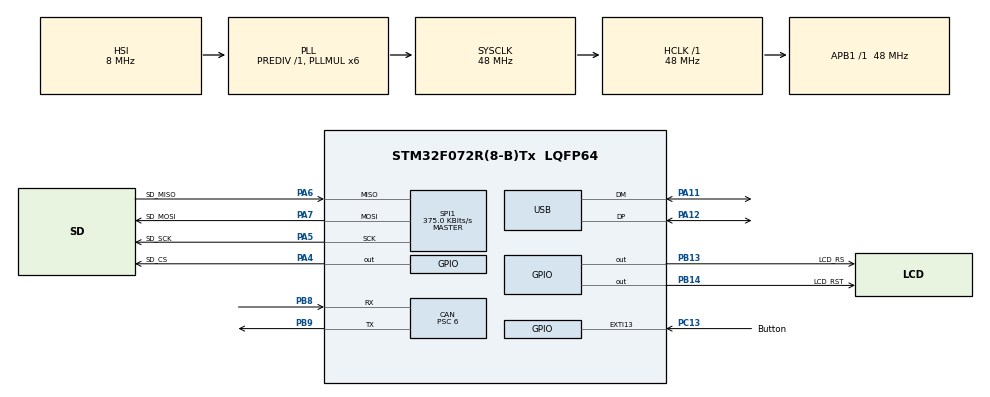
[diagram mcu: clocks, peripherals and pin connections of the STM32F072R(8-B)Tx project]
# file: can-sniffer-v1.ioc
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CAN.BS1=CAN_BS1_12TQ
CAN.BS2=CAN_BS2_3TQ
CAN.CalculateBaudRate=500000
CAN.CalculateTimeBit=2000
CAN.CalculateTimeQuantum=125.0
CAN.Mode=CAN_MODE_LOOPBACK
CAN.Prescaler=6
Mcu.Family=STM32F0
Mcu.Name=STM32F072R(8-B)Tx
Mcu.Package=LQFP64
NVIC.CEC_CAN_IRQn=true\:0\:0\:false\:false\:true\:true\:true\:true
NVIC.EXTI4_15_IRQn=true\:0\:0\:false\:false\:true\:true\:true\:true
NVIC.FLASH_IRQn=true\:0\:0\:false\:false\:true\:true\:true\:true
PA11.Mode=Device
PA11.Signal=USB_DM
PA12.Mode=Device
PA12.Signal=USB_DP
PA13.Mode=Serial_Wire
PA13.Signal=SYS_SWDIO
PA14.Mode=Serial_Wire
PA14.Signal=SYS_SWCLK
PA4.GPIO_Label=SD_CS
PA4.Signal=GPIO_Output
PA5.GPIO_Label=SD_SCK
PA5.GPIO_Speed=GPIO_SPEED_FREQ_LOW
PA5.Mode=Full_Duplex_Master
PA5.Signal=SPI1_SCK
PA6.GPIO_Label=SD_MISO
PA6.Mode=Full_Duplex_Master
PA6.Signal=SPI1_MISO
PA7.GPIO_Label=SD_MOSI
PA7.Mode=Full_Duplex_Master
PA7.Signal=SPI1_MOSI
PB10.GPIO_Label=LCD_SCL
PB10.Signal=SPI2_SCK
PB12.GPIO_Label=LCD_CSB
PB12.Signal=SPI2_NSS
PB13.GPIO_Label=LCD_RS
PB13.Signal=GPIO_Output
PB14.GPIO_Label=LCD_RST
PB14.Signal=GPIO_Output
PB15.GPIO_Label=LCD_MOSI
PB15.Signal=SPI2_MOSI
PB8.GPIO_PuPd=GPIO_PULLUP
PB8.Mode=CAN_Activate
PB8.Signal=CAN_RX
PB9.Mode=CAN_Activate
PB9.Signal=CAN_TX
PC13.GPIO_Label=Button
PC13.GPIO_ModeDefaultEXTI=GPIO_MODE_IT_FALLING
PC13.Signal=GPXTI13
PF0-OSC_IN.Mode=HSE-External-Oscillator
PF0-OSC_IN.Signal=RCC_OSC_IN
PF1-OSC_OUT.Mode=HSE-External-Oscillator
PF1-OSC_OUT.Signal=RCC_OSC_OUT
ProjectManager.HeapSize=0x200
ProjectManager.StackSize=0x400
ProjectManager.TargetToolchain=STM32CubeIDE
RCC.AHBFreq_Value=48000000
RCC.APB1Freq_Value=48000000
RCC.APB1TimFreq_Value=48000000
RCC.HCLKFreq_Value=48000000
RCC.PLLMUL=RCC_PLL_MUL6
RCC.SYSCLKFreq_VALUE=48000000
RCC.SYSCLKSource=RCC_SYSCLKSOURCE_PLLCLK
SPI1.BaudRatePrescaler=SPI_BAUDRATEPRESCALER_128
SPI1.CalculateBaudRate=375.0 KBits/s
SPI1.DataSize=SPI_DATASIZE_8BIT
SPI1.Direction=SPI_DIRECTION_2LINES
SPI1.Mode=SPI_MODE_MASTER
SPI1.VirtualType=VM_MASTER
VP_FATFS_VS_Generic.Mode=User_defined
board=custom

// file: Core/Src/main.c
/* USER CODE BEGIN Header */
/**
  ******************************************************************************
  * @file           : main.c
  * @brief          : Main program body
  ******************************************************************************
  * @attention
  *
  * Copyright (c) 2025 STMicroelectronics.
  * All rights reserved.
  *
  * This software is licensed under terms that can be found in the LICENSE file
  * in the root directory of this software component.
  * If no LICENSE file comes with this software, it is provided AS-IS.
  *
  ******************************************************************************
  */
/* USER CODE END Header */
#include "main.h"
#include "fatfs.h"

CAN_HandleTypeDef hcan;

SPI_HandleTypeDef hspi1;

PCD_HandleTypeDef hpcd_USB_FS;

/* USER CODE BEGIN PV */
//uint16_t led_state = 0;
CAN_TxHeaderTypeDef   TxHeader; /* Header containing the information of the transmitted frame */
CAN_RxHeaderTypeDef   RxHeader; ; /* Header containing the information of the received frame */
uint8_t               TxData[8] = {0};  /* Buffer of the data to send */
uint8_t               RxData[8]; /* Buffer of the received data */
uint32_t              TxMailbox;  /* The number of the mail box that transmitted the Tx message */

/* USER CODE END PV */

void SystemClock_Config(void);
static void MX_GPIO_Init(void);
static void MX_USB_PCD_Init(void);
static void MX_CAN_Init(void);
static void MX_SPI1_Init(void);

int main(void)
{

  /* MCU Configuration--------------------------------------------------------*/

  /* Reset of all peripherals, Initializes the Flash interface and the Systick. */
  HAL_Init();

  /* Configure the system clock */
  SystemClock_Config();

  /* Initialize all configured peripherals */
  MX_GPIO_Init();
  MX_USB_PCD_Init();
  MX_CAN_Init();
  MX_SPI1_Init();
  MX_FATFS_Init();
  /* USER CODE BEGIN 2 */
  TxHeader.StdId = 0x123;
  TxHeader.RTR = CAN_RTR_DATA;
  TxHeader.IDE = CAN_ID_STD;
  TxHeader.DLC = 8;
  TxHeader.TransmitGlobalTime = DISABLE;
  for (int i=0; i<8; i++){
	  TxData[i] = 0;
  }
//  TxData[0] = 0;
//  TxData[7] = 0xFF;

  /* USER CODE END 2 */

  /* Infinite loop */
  /* USER CODE BEGIN WHILE */

  while (1)
  {
	  for(int i=0; i<8; i++){
	  	  TxData[i] = (TxData[i] + (1+i)) & 0xFF;				//wraps around when reached 255
	    }
//	  TxData[0] ++; 				//increment the first byte
//	  TxData[7] --;					//increment the last byte

	  //mandatory to look for a free Tx mailbox
	  while(HAL_CAN_GetTxMailboxesFreeLevel(&hcan) == 0);
	  if(HAL_CAN_AddTxMessage(&hcan, &TxHeader, TxData, &TxMailbox) != HAL_OK){
		  //transmission request error
		  Error_Handler();
	  }

    /* USER CODE END WHILE */

  }
}

void SystemClock_Config(void)
{
  RCC_OscInitTypeDef RCC_OscInitStruct = {0};
  RCC_ClkInitTypeDef RCC_ClkInitStruct = {0};
  RCC_PeriphCLKInitTypeDef PeriphClkInit = {0};

  /** Initializes the RCC Oscillators according to the specified parameters
  * in the RCC_OscInitTypeDef structure.
  */
  RCC_OscInitStruct.OscillatorType = RCC_OSCILLATORTYPE_HSI|RCC_OSCILLATORTYPE_HSI48;
  RCC_OscInitStruct.HSIState = RCC_HSI_ON;
  RCC_OscInitStruct.HSI48State = RCC_HSI48_ON;
  RCC_OscInitStruct.HSICalibrationValue = RCC_HSICALIBRATION_DEFAULT;
  RCC_OscInitStruct.PLL.PLLState = RCC_PLL_ON;
  RCC_OscInitStruct.PLL.PLLSource = RCC_PLLSOURCE_HSI;
  RCC_OscInitStruct.PLL.PLLMUL = RCC_PLL_MUL6;
  RCC_OscInitStruct.PLL.PREDIV = RCC_PREDIV_DIV1;
  if (HAL_RCC_OscConfig(&RCC_OscInitStruct) != HAL_OK)
  {
    Error_Handler();
  }

  /** Initializes the CPU, AHB and APB buses clocks
  */
  RCC_ClkInitStruct.ClockType = RCC_CLOCKTYPE_HCLK|RCC_CLOCKTYPE_SYSCLK
                              |RCC_CLOCKTYPE_PCLK1;
  RCC_ClkInitStruct.SYSCLKSource = RCC_SYSCLKSOURCE_PLLCLK;
  RCC_ClkInitStruct.AHBCLKDivider = RCC_SYSCLK_DIV1;
  RCC_ClkInitStruct.APB1CLKDivider = RCC_HCLK_DIV1;

  if (HAL_RCC_ClockConfig(&RCC_ClkInitStruct, FLASH_LATENCY_1) != HAL_OK)
  {
    Error_Handler();
  }
  PeriphClkInit.PeriphClockSelection = RCC_PERIPHCLK_USB;
  PeriphClkInit.UsbClockSelection = RCC_USBCLKSOURCE_HSI48;

  if (HAL_RCCEx_PeriphCLKConfig(&PeriphClkInit) != HAL_OK)
  {
    Error_Handler();
  }
}

static void MX_CAN_Init(void)
{

  /* USER CODE BEGIN CAN_Init 0 */
	CAN_FilterTypeDef sFilterConfig;
  /* USER CODE END CAN_Init 0 */

  hcan.Instance = CAN;
  hcan.Init.Prescaler = 6;
  hcan.Init.Mode = CAN_MODE_LOOPBACK;
  hcan.Init.SyncJumpWidth = CAN_SJW_1TQ;
  hcan.Init.TimeSeg1 = CAN_BS1_12TQ;
  hcan.Init.TimeSeg2 = CAN_BS2_3TQ;
  hcan.Init.TimeTriggeredMode = DISABLE;
  hcan.Init.AutoBusOff = DISABLE;
  hcan.Init.AutoWakeUp = DISABLE;
  hcan.Init.AutoRetransmission = DISABLE;
  hcan.Init.ReceiveFifoLocked = DISABLE;
  hcan.Init.TransmitFifoPriority = DISABLE;
  if (HAL_CAN_Init(&hcan) != HAL_OK)
  {
    Error_Handler();
  }
  /* USER CODE BEGIN CAN_Init 2 */
  sFilterConfig.FilterBank = 0;
  sFilterConfig.FilterMode = CAN_FILTERMODE_IDMASK;
  sFilterConfig.FilterScale = CAN_FILTERSCALE_32BIT;
  sFilterConfig.FilterIdHigh = 0x0000;
  sFilterConfig.FilterIdLow = 0x0000;
  sFilterConfig.FilterMaskIdHigh = 0x0000;
  sFilterConfig.FilterMaskIdLow = 0x0000;
  sFilterConfig.FilterFIFOAssignment = CAN_RX_FIFO0;
  sFilterConfig.FilterActivation = ENABLE;
  sFilterConfig.SlaveStartFilterBank = 14;
  if (HAL_CAN_ConfigFilter(&hcan, &sFilterConfig) != HAL_OK){
	  //filter configuration error
	  Error_Handler();
  }
  //Starting CAN peripheral
  if (HAL_CAN_Start(&hcan) != HAL_OK){
	  //start error
	  Error_Handler();
  }
  //Activate CAN RX notification on FIFO0
  if (HAL_CAN_ActivateNotification(&hcan, CAN_IT_RX_FIFO0_MSG_PENDING)){
	  //notification error
	  Error_Handler();
  }

  /* USER CODE END CAN_Init 2 */

}

static void MX_SPI1_Init(void)
{

  /* SPI1 parameter configuration*/
  hspi1.Instance = SPI1;
  hspi1.Init.Mode = SPI_MODE_MASTER;
  hspi1.Init.Direction = SPI_DIRECTION_2LINES;
  hspi1.Init.DataSize = SPI_DATASIZE_8BIT;
  hspi1.Init.CLKPolarity = SPI_POLARITY_LOW;
  hspi1.Init.CLKPhase = SPI_PHASE_1EDGE;
  hspi1.Init.NSS = SPI_NSS_SOFT;
  hspi1.Init.BaudRatePrescaler = SPI_BAUDRATEPRESCALER_128;
  hspi1.Init.FirstBit = SPI_FIRSTBIT_MSB;
  hspi1.Init.TIMode = SPI_TIMODE_DISABLE;
  hspi1.Init.CRCCalculation = SPI_CRCCALCULATION_DISABLE;
  hspi1.Init.CRCPolynomial = 7;
  hspi1.Init.CRCLength = SPI_CRC_LENGTH_DATASIZE;
  hspi1.Init.NSSPMode = SPI_NSS_PULSE_ENABLE;
  if (HAL_SPI_Init(&hspi1) != HAL_OK)
  {
    Error_Handler();
  }

}

static void MX_USB_PCD_Init(void)
{

  hpcd_USB_FS.Instance = USB;
  hpcd_USB_FS.Init.dev_endpoints = 8;
  hpcd_USB_FS.Init.speed = PCD_SPEED_FULL;
  hpcd_USB_FS.Init.phy_itface = PCD_PHY_EMBEDDED;
  hpcd_USB_FS.Init.low_power_enable = DISABLE;
  hpcd_USB_FS.Init.lpm_enable = DISABLE;
  hpcd_USB_FS.Init.battery_charging_enable = DISABLE;
  if (HAL_PCD_Init(&hpcd_USB_FS) != HAL_OK)
  {
    Error_Handler();
  }

}

static void MX_GPIO_Init(void)
{
  GPIO_InitTypeDef GPIO_InitStruct = {0};

  /* GPIO Ports Clock Enable */
  __HAL_RCC_GPIOC_CLK_ENABLE();
  __HAL_RCC_GPIOF_CLK_ENABLE();
  __HAL_RCC_GPIOA_CLK_ENABLE();
  __HAL_RCC_GPIOB_CLK_ENABLE();

  /*Configure GPIO pin Output Level */
  HAL_GPIO_WritePin(SD_CS_GPIO_Port, SD_CS_Pin, GPIO_PIN_RESET);

  /*Configure GPIO pin Output Level */
  HAL_GPIO_WritePin(GPIOB, LCD_RS_Pin|LCD_RST_Pin, GPIO_PIN_RESET);

  /*Configure GPIO pin : Button_Pin */
  GPIO_InitStruct.Pin = Button_Pin;
  GPIO_InitStruct.Mode = GPIO_MODE_IT_FALLING;
  GPIO_InitStruct.Pull = GPIO_NOPULL;
  HAL_GPIO_Init(Button_GPIO_Port, &GPIO_InitStruct);

  /*Configure GPIO pin : SD_CS_Pin */
  GPIO_InitStruct.Pin = SD_CS_Pin;
  GPIO_InitStruct.Mode = GPIO_MODE_OUTPUT_PP;
  GPIO_InitStruct.Pull = GPIO_NOPULL;
  GPIO_InitStruct.Speed = GPIO_SPEED_FREQ_LOW;
  HAL_GPIO_Init(SD_CS_GPIO_Port, &GPIO_InitStruct);

  /*Configure GPIO pin : LCD_SCL_Pin */
  GPIO_InitStruct.Pin = LCD_SCL_Pin;
  GPIO_InitStruct.Mode = GPIO_MODE_AF_PP;
  GPIO_InitStruct.Pull = GPIO_NOPULL;
  GPIO_InitStruct.Speed = GPIO_SPEED_FREQ_HIGH;
  GPIO_InitStruct.Alternate = GPIO_AF5_SPI2;
  HAL_GPIO_Init(LCD_SCL_GPIO_Port, &GPIO_InitStruct);

  /*Configure GPIO pins : LCD_CSB_Pin LCD_MOSI_Pin */
  GPIO_InitStruct.Pin = LCD_CSB_Pin|LCD_MOSI_Pin;
  GPIO_InitStruct.Mode = GPIO_MODE_AF_PP;
  GPIO_InitStruct.Pull = GPIO_NOPULL;
  GPIO_InitStruct.Speed = GPIO_SPEED_FREQ_HIGH;
  GPIO_InitStruct.Alternate = GPIO_AF0_SPI2;
  HAL_GPIO_Init(GPIOB, &GPIO_InitStruct);

  /*Configure GPIO pins : LCD_RS_Pin LCD_RST_Pin */
  GPIO_InitStruct.Pin = LCD_RS_Pin|LCD_RST_Pin;
  GPIO_InitStruct.Mode = GPIO_MODE_OUTPUT_PP;
  GPIO_InitStruct.Pull = GPIO_NOPULL;
  GPIO_InitStruct.Speed = GPIO_SPEED_FREQ_LOW;
  HAL_GPIO_Init(GPIOB, &GPIO_InitStruct);

  /* EXTI interrupt init*/
  HAL_NVIC_SetPriority(EXTI4_15_IRQn, 0, 0);
  HAL_NVIC_EnableIRQ(EXTI4_15_IRQn);

}

/* USER CODE BEGIN 4 */
  void HAL_CAN_RxFifo0MsgPendingCallback(CAN_HandleTypeDef *CanHandle){
	  //get RX message
	  if(HAL_CAN_GetRxMessage(CanHandle, CAN_RX_FIFO0, &RxHeader, RxData) != HAL_OK){
		  //reception error
		  Error_Handler();
	  }
  }

//void HAL_GPIO_EXTI_Callback(uint16_t GPIO_PIN)
//	{
//		if (GPIO_PIN == GPIO_PIN_13)
//		{
//			if (led_state == 0){
//				HAL_GPIO_WritePin(GPIOA, GPIO_PIN_5, GPIO_PIN_SET);
//				led_state = 1;
//			}
//			else{
//				HAL_GPIO_WritePin(GPIOA, GPIO_PIN_5, GPIO_PIN_RESET);
//				led_state = 0;
//			}
//		}
//
//	}
/* USER CODE END 4 */

void Error_Handler(void)
{
  __disable_irq();
  while (1)
  {
  }
}
